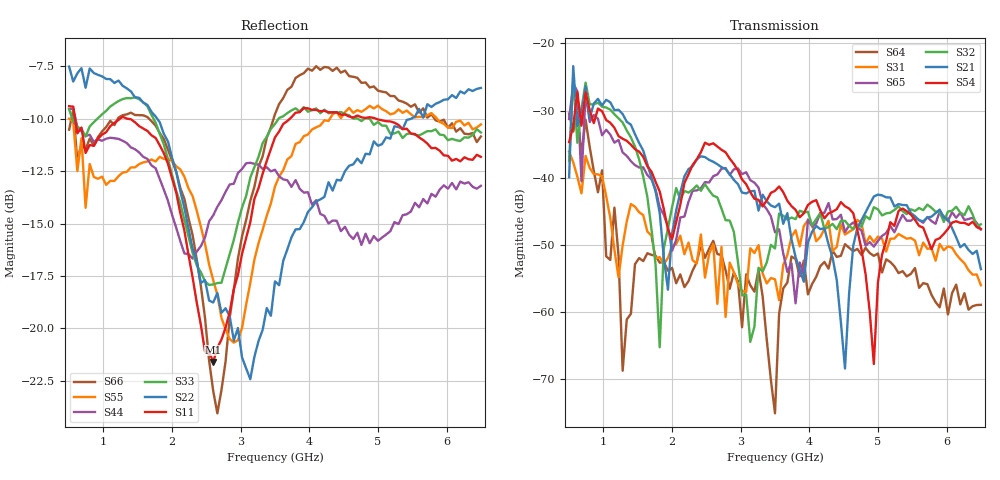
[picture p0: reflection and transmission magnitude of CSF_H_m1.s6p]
!Keysight Technologies,M9804A,MY58100912,A.14.10.03
!Date: Thursday, April 27, 2023 10:28:33
!Correction: S11(C  6-Port  )
!S12(C  6-Port  )
!S13(C  6-Port  )
!S14(C  6-Port  )
!S15(C  6-Port  )
!S16(C  6-Port  )
!S21(C  6-Port  )
!S22(C  6-Port  )
!S23(C  6-Port  )
!S24(C  6-Port  )
!S25(C  6-Port  )
!S26(C  6-Port  )
!S31(C  6-Port  )
!S32(C  6-Port  )
!S33(C  6-Port  )
!S34(C  6-Port  )
!S35(C  6-Port  )
!S36(C  6-Port  )
!S41(C  6-Port  )
!S42(C  6-Port  )
!S43(C  6-Port  )
!S44(C  6-Port  )
!S45(C  6-Port  )
!S46(C  6-Port  )
!S51(C  6-Port  )
!S52(C  6-Port  )
!S53(C  6-Port  )
!S54(C  6-Port  )
!S55(C  6-Port  )
!S56(C  6-Port  )
!S61(C  6-Port  )
!S62(C  6-Port  )
!S63(C  6-Port  )
!S64(C  6-Port  )
!S65(C  6-Port  )
!S66(C  6-Port  )
!S6P File: Measurement: :
# Hz S  RI  R 50
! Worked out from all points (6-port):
!   101 points, 500 MHz to 6.5 GHz, reference 50 ohm
!   strongest paths, dB at 500 MHz, 2 GHz, 3.5 GHz, 5 GHz, 6.5 GHz:
!     S54: -34.7, -49.2, -42.0, -55.6, -47.7
!     S21: -39.9, -48.4, -44.4, -42.5, -53.7
!     S32: -37.5, -44.4, -50.6, -44.7, -47.0
!     S65: -31.3, -50.9, -48.2, -49.4, -47.7
!     S31: -36.1, -50.3, -55.2, -48.8, -56.1
!     S64: -30.5, -53.5, -75.2, -51.3, -59.0
!   lowest |S11| = -21.6 dB at 2.6 GHz (marker M1), VSWR 1.18, Z = 42.6 + j2.05 ohm
!   |S11| at or under -10 dB: 587.3 MHz to 1.241 GHz (653.5 MHz wide, 71.5 % of centre); 1.361 GHz to 3.715 GHz (2.354 GHz wide, 92.7 % of centre); 4.974 GHz to end of sweep
